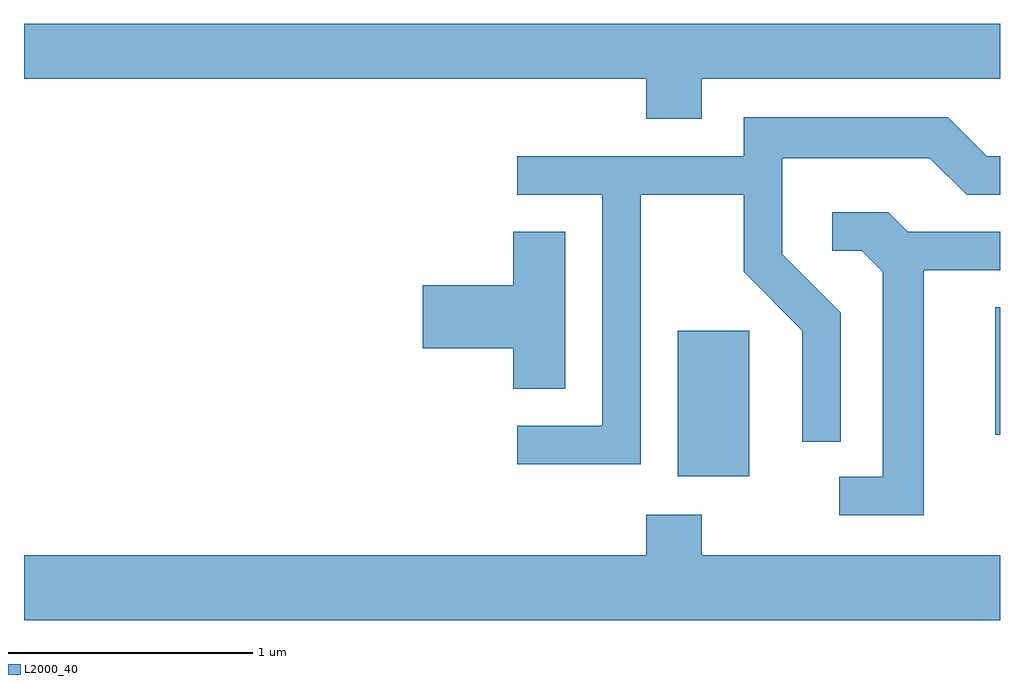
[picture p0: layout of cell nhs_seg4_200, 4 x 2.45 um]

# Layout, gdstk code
import gdstk
lib = gdstk.Library(unit=1e-6, precision=1e-09)
def R(c, l, rs):  # rectangles x0, y0, x1, y1
    for r in rs: c.add(gdstk.rectangle(r[:2], r[2:], *l))
def P(c, l, *ps):  # polygons
    for p in ps: c.add(gdstk.Polygon(p, *l))
L2000_40 = (2000, 40)

nhs_seg4_200 = lib.new_cell('nhs_seg4_200')
R(nhs_seg4_200, L2000_40, [(192.291,1384.126,192.584,1384.724), (193.591,1384.296,193.611,1384.819)])
P(nhs_seg4_200, L2000_40, [(192.389,1385.756),(193.611,1385.756),(193.611,1385.982),(189.611,1385.982),(189.611,1385.756),(192.161,1385.756),(192.161,1385.591),(192.389,1385.591)],
  [(192.139,1385.281),(192.561,1385.281),(192.561,1384.964),(192.801,1384.724),(192.801,1384.268),(192.959,1384.268),(192.959,1384.797),(192.719,1385.037),(192.719,1385.431),(193.324,1385.431),(193.474,1385.281),(193.611,1385.281),(193.611,1385.439),(193.557,1385.439),(193.397,1385.599),(192.561,1385.599),(192.561,1385.439),(191.633,1385.439),(191.633,1385.281),(191.981,1385.281),(191.981,1384.334),(191.633,1384.334),(191.633,1384.176),(192.139,1384.176)],
  [(193.299,1384.971),(193.611,1384.971),(193.611,1385.129),(193.232,1385.129),(193.152,1385.209),(192.923,1385.209),(192.923,1385.051),(193.044,1385.051),(193.131,1384.964),(193.131,1384.124),(192.953,1384.124),(192.953,1383.966),(193.299,1383.966)],
  [(191.829,1385.129),(191.616,1385.129),(191.616,1384.909),(191.246,1384.909),(191.246,1384.651),(191.616,1384.651),(191.616,1384.486),(191.829,1384.486)],
  [(193.611,1383.804),(192.389,1383.804),(192.389,1383.969),(192.161,1383.969),(192.161,1383.804),(189.611,1383.804),(189.611,1383.536),(193.611,1383.536)])

lib.write_gds('nhs_seg4_200.gds')
